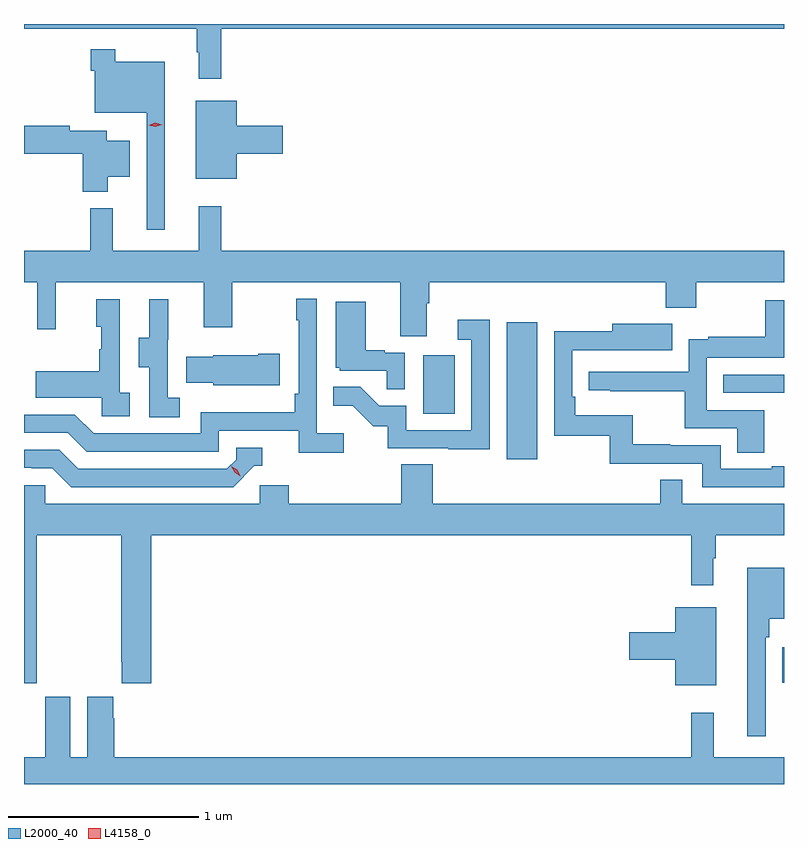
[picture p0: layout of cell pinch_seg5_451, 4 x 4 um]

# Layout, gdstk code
import gdstk
lib = gdstk.Library(unit=1e-6, precision=1e-09)
def R(c, l, rs):  # rectangles x0, y0, x1, y1
    for r in rs: c.add(gdstk.rectangle(r[:2], r[2:], *l))
def P(c, l, *ps):  # polygons
    for p in ps: c.add(gdstk.Polygon(p, *l))
L2000_40 = (2000, 40)
L4158_0 = (4158, 0)

pinch_seg5_451 = lib.new_cell('pinch_seg5_451')
R(pinch_seg5_451, L2000_40, [(926.936,854.651,926.944,854.839), (925.484,855.828,925.645,856.549), (925.046,856.068,925.21,856.375), (926.623,856.176,926.944,856.272)])
P(pinch_seg5_451, L2000_40, [(923.981,858.092),(926.944,858.092),(926.944,858.118),(922.944,858.118),(922.944,858.092),(923.853,858.092),(923.853,857.969),(923.864,857.969),(923.864,857.829),(923.981,857.829)],
  [(923.686,857.92),(923.425,857.92),(923.425,857.986),(923.296,857.986),(923.296,857.873),(923.316,857.873),(923.316,857.651),(923.589,857.651),(923.589,857.034),(923.686,857.034)],
  [(924.064,857.435),(924.307,857.435),(924.307,857.582),(924.064,857.582),(924.064,857.713),(923.849,857.713),(923.849,857.303),(924.064,857.303)],
  [(923.386,857.315),(923.5,857.315),(923.5,857.503),(923.38,857.503),(923.38,857.557),(923.184,857.557),(923.184,857.582),(922.944,857.582),(922.944,857.435),(923.252,857.435),(923.252,857.234),(923.386,857.234)],
  [(925.063,856.648),(925.076,856.648),(925.076,856.76),(926.321,856.76),(926.321,856.625),(926.481,856.625),(926.481,856.76),(926.944,856.76),(926.944,856.924),(923.981,856.924),(923.981,857.158),(923.864,857.158),(923.864,856.924),(923.411,856.924),(923.411,857.149),(923.293,857.149),(923.293,856.924),(922.944,856.924),(922.944,856.76),(923.013,856.76),(923.013,856.512),(923.111,856.512),(923.111,856.76),(923.891,856.76),(923.891,856.521),(924.039,856.521),(924.039,856.76),(924.923,856.76),(924.923,856.474),(925.063,856.474)],
  [(924.628,855.964),(924.486,855.964),(924.486,856.672),(924.378,856.672),(924.378,856.559),(924.39,856.559),(924.39,856.171),(924.37,856.171),(924.37,856.075),(923.874,856.075),(923.874,855.963),(923.31,855.963),(923.211,856.062),(922.944,856.062),(922.944,855.966),(923.174,855.966),(923.273,855.867),(923.97,855.867),(923.97,855.978),(924.389,855.978),(924.389,855.862),(924.628,855.862)],
  [(923.5,856.178),(923.448,856.178),(923.448,856.669),(923.324,856.669),(923.324,856.524),(923.35,856.524),(923.35,856.406),(923.34,856.406),(923.34,856.291),(923.005,856.291),(923.005,856.151),(923.352,856.151),(923.352,856.053),(923.5,856.053)],
  [(923.764,856.151),(923.7,856.151),(923.7,856.455),(923.702,856.455),(923.702,856.669),(923.603,856.669),(923.603,856.467),(923.549,856.467),(923.549,856.312),(923.604,856.312),(923.604,856.048),(923.764,856.048)],
  [(926.839,856.086),(926.538,856.086),(926.538,856.362),(926.944,856.362),(926.944,856.665),(926.844,856.665),(926.844,856.471),(926.545,856.471),(926.545,856.459),(926.442,856.459),(926.442,856.287),(925.917,856.287),(925.917,856.191),(926.029,856.191),(926.029,856.186),(926.422,856.186),(926.422,855.99),(926.699,855.99),(926.699,855.862),(926.839,855.862)],
  [(924.948,856.389),(924.842,856.389),(924.842,856.402),(924.742,856.402),(924.742,856.657),(924.584,856.657),(924.584,856.308),(924.606,856.308),(924.606,856.293),(924.853,856.293),(924.853,856.195),(924.948,856.195)],
  [(925.395,856.561),(925.227,856.561),(925.227,856.455),(925.299,856.455),(925.299,855.981),(924.957,855.981),(924.957,856.11),(924.813,856.11),(924.715,856.208),(924.571,856.208),(924.571,856.109),(924.675,856.109),(924.782,856.002),(924.859,856.002),(924.859,855.885),(925.177,855.885),(925.177,855.88),(925.395,855.88)],
  [(926.944,855.79),(926.879,855.79),(926.879,855.777),(926.61,855.777),(926.61,855.9),(926.345,855.9),(926.345,855.905),(926.149,855.905),(926.149,856.06),(925.844,856.06),(925.844,856.156),(925.83,856.156),(925.83,856.401),(926.143,856.401),(926.143,856.4),(926.357,856.4),(926.357,856.54),(926.039,856.54),(926.039,856.502),(925.734,856.502),(925.734,855.951),(926.028,855.951),(926.028,855.804),(926.514,855.804),(926.514,855.681),(926.944,855.681)],
  [(924.289,856.383),(924.176,856.383),(924.176,856.375),(923.94,856.375),(923.94,856.366),(923.797,856.366),(923.797,856.229),(923.94,856.229),(923.94,856.217),(924.289,856.217)],
  [(924.156,855.792),(924.199,855.792),(924.199,855.888),(924.06,855.888),(924.06,855.825),(924.012,855.777),(923.229,855.777),(923.13,855.876),(922.944,855.876),(922.944,855.783),(922.986,855.783),(922.986,855.78),(923.093,855.78),(923.192,855.681),(924.045,855.681)],
  [(923.01,855.428),(923.455,855.428),(923.455,854.761),(923.459,854.761),(923.459,854.649),(923.615,854.649),(923.615,855.428),(926.455,855.428),(926.455,855.165),(926.572,855.165),(926.572,855.305),(926.584,855.305),(926.584,855.428),(926.944,855.428),(926.944,855.592),(926.409,855.592),(926.409,855.719),(926.293,855.719),(926.293,855.592),(925.094,855.592),(925.094,855.8),(924.929,855.8),(924.929,855.592),(924.338,855.592),(924.338,855.69),(924.186,855.69),(924.186,855.592),(923.055,855.592),(923.055,855.69),(922.944,855.69),(922.944,854.649),(923.01,854.649)],
  [(926.847,854.891),(926.867,854.891),(926.867,854.987),(926.944,854.987),(926.944,855.256),(926.75,855.256),(926.75,854.37),(926.847,854.37)],
  [(926.587,855.049),(926.372,855.049),(926.372,854.918),(926.13,854.918),(926.13,854.771),(926.372,854.771),(926.372,854.639),(926.587,854.639)],
  [(926.944,854.26),(926.573,854.26),(926.573,854.494),(926.455,854.494),(926.455,854.26),(923.42,854.26),(923.42,854.465),(923.413,854.465),(923.413,854.578),(923.276,854.578),(923.276,854.26),(923.188,854.26),(923.188,854.578),(923.057,854.578),(923.057,854.26),(922.944,854.26),(922.944,854.118),(926.944,854.118)])
P(pinch_seg5_451, L4158_0, [(924.082,855.738),(924.052,855.758),(924.036,855.791),(924.036,855.791),(924.036,855.791),(924.067,855.771),(924.082,855.738),(924.082,855.738)],
  [(923.636,857.577),(923.6,857.586),(923.599,857.586),(923.6,857.586),(923.635,857.597),(923.671,857.589),(923.671,857.589),(923.671,857.588)])

lib.write_gds('pinch_seg5_451.gds')
